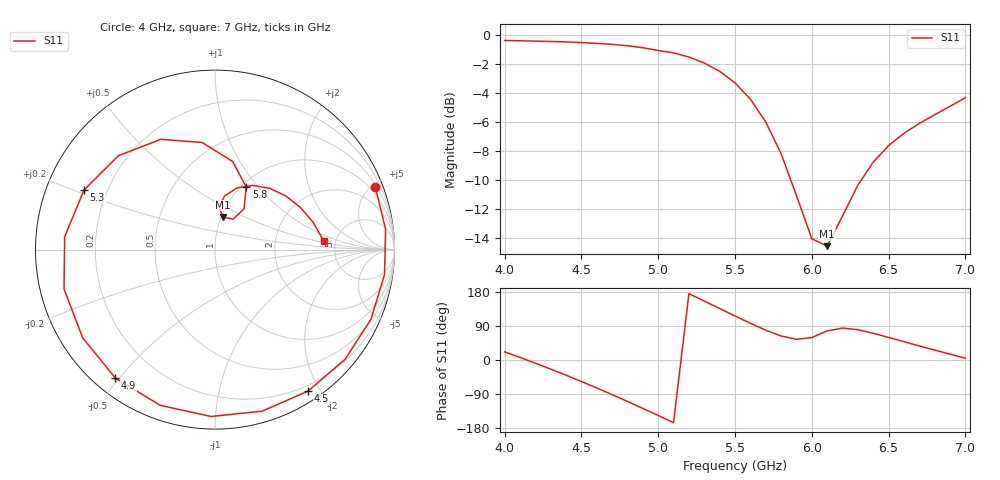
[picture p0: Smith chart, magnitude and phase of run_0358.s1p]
! Touchstone file exported from HFSS 2024.2.0
!  File:  C:/Users/wsak9/Desktop/Sim Fast/Widenad Patch/WP_AI_V1_sweep.aedt
!  Generated:  06:12:49 AM Oct 14, 2026
!  Design:  A1_model
!  Project:  WP_AI_V1_sweep
!  Setup:  Setup1
!  Solution:  Sweep
! Variables:
!  Air_gap = 3.41mm
!  Curve_Amp1 = 0.91
!  Curve_len1 = 1
!  Curve_pos = 9.805mm
!  Extra = 3.81mm
!  H_sub = 0.79mm
!  L_Patch = 15.61mm
!  L_Patch1 = 12.08mm
!  Sx = 3.51mm
!  Sy = 1.72mm
!  WS = 1.13mm
!  W_Patch = 19.03mm
!  W_Patch1 = 8.27mm
!Data is not renormalized
# GHz S MA
! Terminal data exported
! Port[1] = 1
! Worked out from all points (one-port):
!   31 points, 4 GHz to 7 GHz, reference per port
!   lowest |S11| = -14.6 dB at 6.1 GHz (marker M1), VSWR 1.46
!   |S11| at or under -10 dB: 5.863 GHz to 6.324 GHz (461.1 MHz wide, 7.57 % of centre)
!   S11 on the Smith chart (normalised r, x): 4 GHz: 0.59, +5.21; 4.5 GHz: 0.13, -1.85; 4.9 GHz: 0.06, -0.49; 5.3 GHz: 0.12, +0.21; 5.8 GHz: 1.06, +0.87; 7 GHz: 4.01, +0.60
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4  0.9596 21.5
4.1  0.9572 6.7
4.2  0.9547 -8.4
4.3  0.9517 -24.0
4.4  0.9481 -40.1
4.5  0.9436 -56.7
4.6  0.9377 -73.8
4.7  0.93 -91.4
4.8  0.9198 -109.4
4.9  0.9055 -127.8
5  0.8861 -146.3
5.1  0.8693 -165.4
5.2  0.8406 175.1
5.3  0.8017 155.5
5.4  0.7505 135.8
5.5  0.6843 116.1
5.6  0.6011 96.9
5.7  0.5012 78.8
5.8  0.3895 63.4
5.9  0.2791 54.5
6  0.1976 59.3
6.1  0.1862 76.7
6.2  0.2367 84.3
6.3  0.3028 79.9
6.5  0.4151 59.5
6.7  0.4952 37.1
6.9  0.5676 15.5
7  0.6079 4.5
